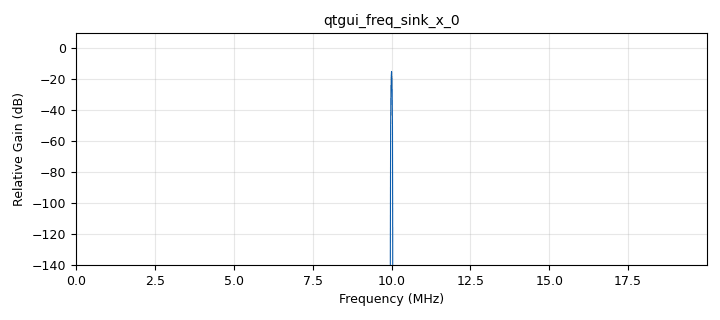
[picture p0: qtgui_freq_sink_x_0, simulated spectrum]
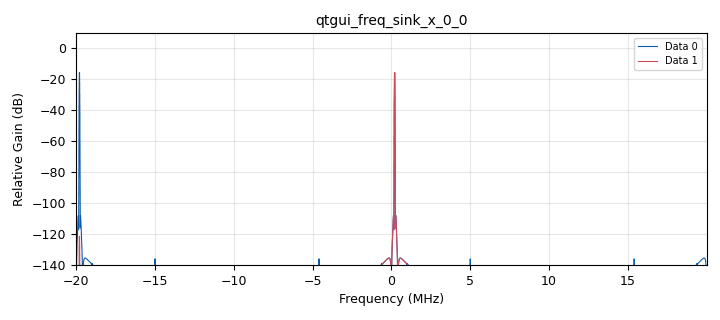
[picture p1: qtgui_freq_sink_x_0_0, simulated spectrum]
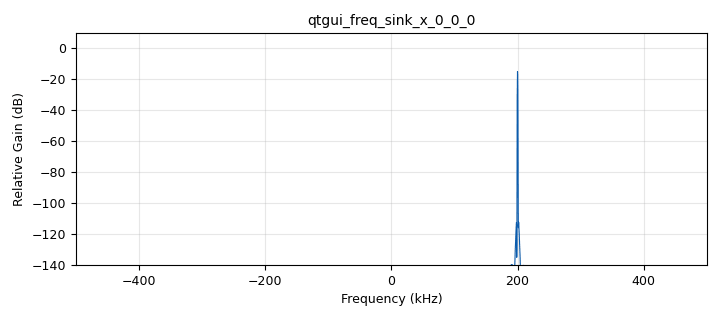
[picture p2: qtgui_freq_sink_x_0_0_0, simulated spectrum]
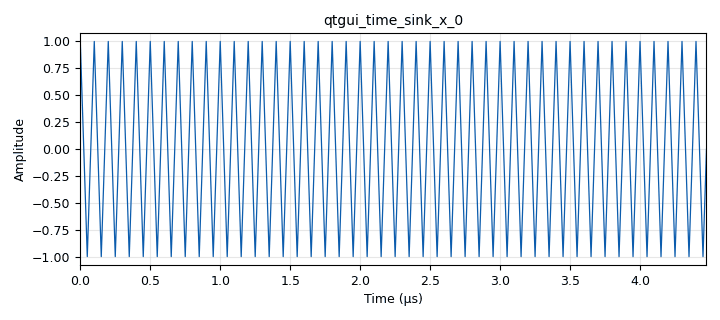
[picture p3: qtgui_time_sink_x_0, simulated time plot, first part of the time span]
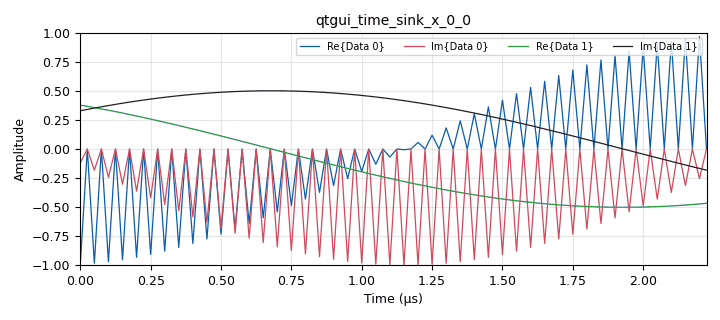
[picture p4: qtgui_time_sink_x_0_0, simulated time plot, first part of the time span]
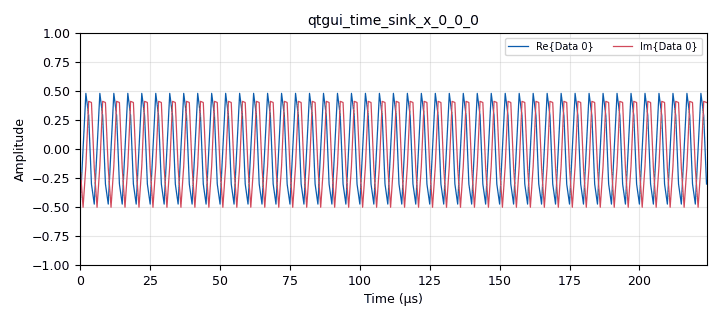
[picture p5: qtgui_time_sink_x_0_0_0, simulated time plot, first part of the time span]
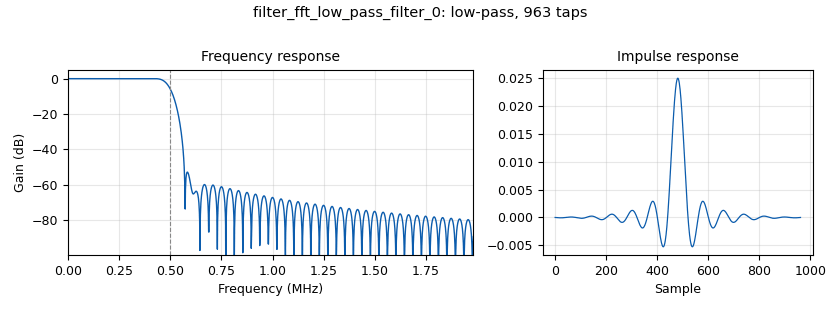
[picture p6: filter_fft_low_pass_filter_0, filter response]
options:
  parameters:
    generate_options: qt_gui
    id: NA
    output_language: python
    title: Not titled yet
  states: {}

blocks:
- name: lo_freq
  id: variable_qtgui_entry
  parameters:
    comment: |-
      Use Negative Frequency to bring I signal close to 0
      Pushes Q signal more negative
    label: Local Oscillator (LO) Frequency (MHz)
    type: real
    value: '-9.8'
  states: {}
- name: samp_rate
  id: variable
  parameters:
    value: '40_000_000'
  states: {}
- name: tone_freq
  id: variable_qtgui_entry
  parameters:
    label: Tone Frequency (MHz)
    type: real
    value: '10'
  states: {}
- name: analog_sig_source_x_0
  id: analog_sig_source_x
  parameters:
    amp: '1'
    comment: |-
      Complex Signal Source Generates
      2 signals that are 90 deg out of phase
      (In-phase and Quadrature)
    freq: lo_freq*1e6
    offset: '0'
    phase: '0'
    samp_rate: samp_rate
    type: complex
    waveform: analog.GR_COS_WAVE
  states: {}
- name: analog_sig_source_x_1
  id: analog_sig_source_x
  parameters:
    amp: '1'
    freq: tone_freq*1e6
    offset: '0'
    phase: '0'
    samp_rate: samp_rate
    type: float
    waveform: analog.GR_COS_WAVE
  states: {}
- name: blocks_complex_to_float_0
  id: blocks_complex_to_float
  parameters: {}
  states: {}
- name: blocks_float_to_complex_0
  id: blocks_float_to_complex
  parameters: {}
  states: {}
- name: blocks_keep_one_in_n_0
  id: blocks_keep_one_in_n
  parameters:
    comment: |-
      Represents the ADC in the SDR
      2x the Anti-Alias Filter Cutoff Freq
    n: '40'
    type: complex
  states: {}
- name: blocks_multiply_xx_0
  id: blocks_multiply_xx
  parameters:
    type: float
  states: {}
- name: blocks_multiply_xx_1
  id: blocks_multiply_xx
  parameters:
    type: float
  states: {}
- name: blocks_throttle2_0
  id: blocks_throttle2
  parameters:
    comment: Prevents overloading CPU
    samples_per_second: samp_rate
    type: float
  states: {}
- name: filter_fft_low_pass_filter_0
  id: filter_fft_low_pass_filter
  parameters:
    comment: |-
      Anti-Alias Filter. Remove filters that would be
      Aliased by the new sampling
      Goes from -.5MHz to .5MHz
    cutoff_freq: 0.5e6
    decim: '1'
    gain: '1'
    samp_rate: samp_rate
    type: ccf
    width: 100e3
    win: window.WIN_HAMMING
  states: {}
- name: qtgui_freq_sink_x_0
  id: qtgui_freq_sink_x
  parameters:
    bw: samp_rate
    fc: '0'
    fftsize: '4096'
    freqhalf: 'False'
    gui_hint: tab@0
    type: float
  states: {}
- name: qtgui_freq_sink_x_0_0
  id: qtgui_freq_sink_x
  parameters:
    bw: samp_rate
    fc: '0'
    fftsize: '4096'
    freqhalf: 'False'
    gui_hint: tab@1
    nconnections: '2'
    type: complex
  states: {}
- name: qtgui_freq_sink_x_0_0_0
  id: qtgui_freq_sink_x
  parameters:
    bw: samp_rate / 40
    fc: '0'
    fftsize: '4096'
    freqhalf: 'False'
    gui_hint: tab@2
    type: complex
  states: {}
- name: qtgui_time_sink_x_0
  id: qtgui_time_sink_x
  parameters:
    entags: 'False'
    gui_hint: tab@0
    size: '4096'
    srate: samp_rate
    type: float
  states: {}
- name: qtgui_time_sink_x_0_0
  id: qtgui_time_sink_x
  parameters:
    gui_hint: tab@1
    nconnections: '2'
    size: '4096'
    srate: samp_rate
    type: complex
  states: {}
- name: qtgui_time_sink_x_0_0_0
  id: qtgui_time_sink_x
  parameters:
    gui_hint: tab@2
    size: '4096'
    srate: samp_rate / 40
    type: complex
  states: {}
- name: tab
  id: qtgui_tab_widget
  parameters:
    label0: Input RF (radio frequency) signal
    label1: Intermediate frequency (IF) signal
    label2: ADC Output
    num_tabs: '3'
  states: {}

connections:
- [analog_sig_source_x_0, '0', blocks_complex_to_float_0, '0']
- [analog_sig_source_x_1, '0', blocks_throttle2_0, '0']
- [blocks_complex_to_float_0, '0', blocks_multiply_xx_1, '1']
- [blocks_complex_to_float_0, '1', blocks_multiply_xx_0, '1']
- [blocks_float_to_complex_0, '0', filter_fft_low_pass_filter_0, '0']
- [blocks_float_to_complex_0, '0', qtgui_freq_sink_x_0_0, '0']
- [blocks_float_to_complex_0, '0', qtgui_time_sink_x_0_0, '0']
- [blocks_keep_one_in_n_0, '0', qtgui_freq_sink_x_0_0_0, '0']
- [blocks_keep_one_in_n_0, '0', qtgui_time_sink_x_0_0_0, '0']
- [blocks_multiply_xx_0, '0', blocks_float_to_complex_0, '1']
- [blocks_multiply_xx_1, '0', blocks_float_to_complex_0, '0']
- [blocks_throttle2_0, '0', blocks_multiply_xx_0, '0']
- [blocks_throttle2_0, '0', blocks_multiply_xx_1, '0']
- [blocks_throttle2_0, '0', qtgui_freq_sink_x_0, '0']
- [blocks_throttle2_0, '0', qtgui_time_sink_x_0, '0']
- [filter_fft_low_pass_filter_0, '0', blocks_keep_one_in_n_0, '0']
- [filter_fft_low_pass_filter_0, '0', qtgui_freq_sink_x_0_0, '1']
- [filter_fft_low_pass_filter_0, '0', qtgui_time_sink_x_0_0, '1']

metadata:
  file_format: 1
  grc_version: 3.10.12.0
